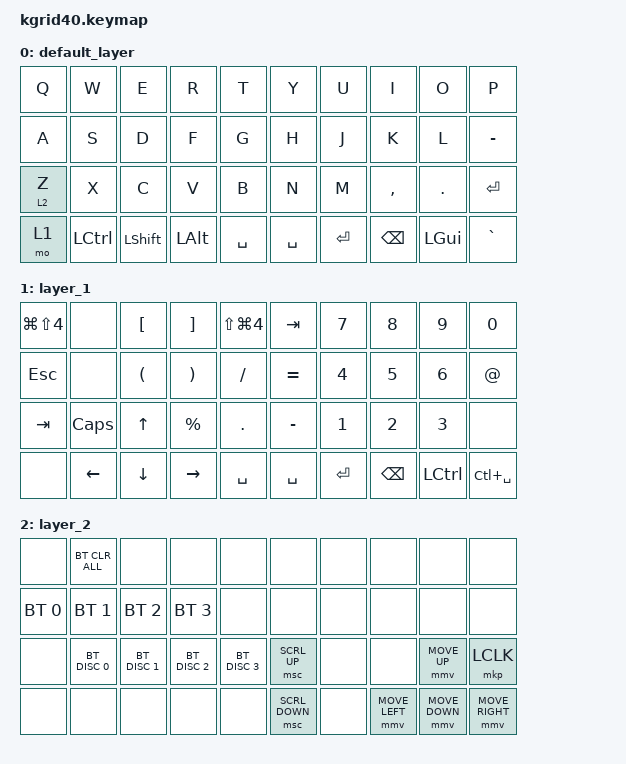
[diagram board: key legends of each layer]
#include <behaviors.dtsi>
#include <dt-bindings/zmk/bt.h>
#include <dt-bindings/zmk/keys.h>
#include <dt-bindings/zmk/pointing.h>

/ {
    /* コンボは干渉を避けるため削除した状態を維持します */

    keymap {
        compatible = "zmk,keymap";

        default_layer {
            bindings = <
&kp Q    &kp W      &kp E           &kp R         &kp T      &kp Y      &kp U      &kp I      &kp O         &kp P
&kp A    &kp S      &kp D           &kp F         &kp G      &kp H      &kp J      &kp K      &kp L         &kp MINUS
&lt 2 Z  &kp X      &kp C           &kp V         &kp B      &kp N      &kp M      &kp COMMA  &kp DOT       &kp ENTER
&mo 1    &kp LCTRL  &kp LEFT_SHIFT  &kp LEFT_ALT  &kp SPACE  &kp SPACE  &kp ENTER  &kp BSPC   &kp LEFT_GUI  &kp GRAVE
            >;
        };

        layer_1 {
            bindings = <
&kp LG(LS(NUMBER_4))  &none           &kp LBKT        &kp RBKT         &kp LS(LG(N4))  &kp TAB    &kp N7     &kp N8    &kp N9     &kp N0
&kp ESCAPE            &none           &kp LPAR        &kp RPAR         &kp SLASH       &kp EQUAL  &kp N4     &kp N5    &kp N6     &kp AT
&kp TAB               &kp CAPS        &kp UP_ARROW    &kp PRCNT        &kp PERIOD      &kp MINUS  &kp N1     &kp N2    &kp N3     &none
&none                 &kp LEFT_ARROW  &kp DOWN_ARROW  &kp RIGHT_ARROW  &kp SPACE       &kp SPACE  &kp ENTER  &kp BSPC  &kp LCTRL  &kp LC(SPACE)
            >;
        };

        layer_2 {
            bindings = <
&none         &bt BT_CLR_ALL  &none          &none          &none          &none           &none  &none           &none           &none
&bt BT_SEL 0  &bt BT_SEL 1    &bt BT_SEL 2   &bt BT_SEL 3   &none          &none           &none  &none           &none           &none
&none         &bt BT_DISC 0   &bt BT_DISC 1  &bt BT_DISC 2  &bt BT_DISC 3  &msc SCRL_UP    &none  &none           &mmv MOVE_UP    &mkp LCLK
&none         &none           &none          &none          &none          &msc SCRL_DOWN  &none  &mmv MOVE_LEFT  &mmv MOVE_DOWN  &mmv MOVE_RIGHT
            >;
        };
    };
};
